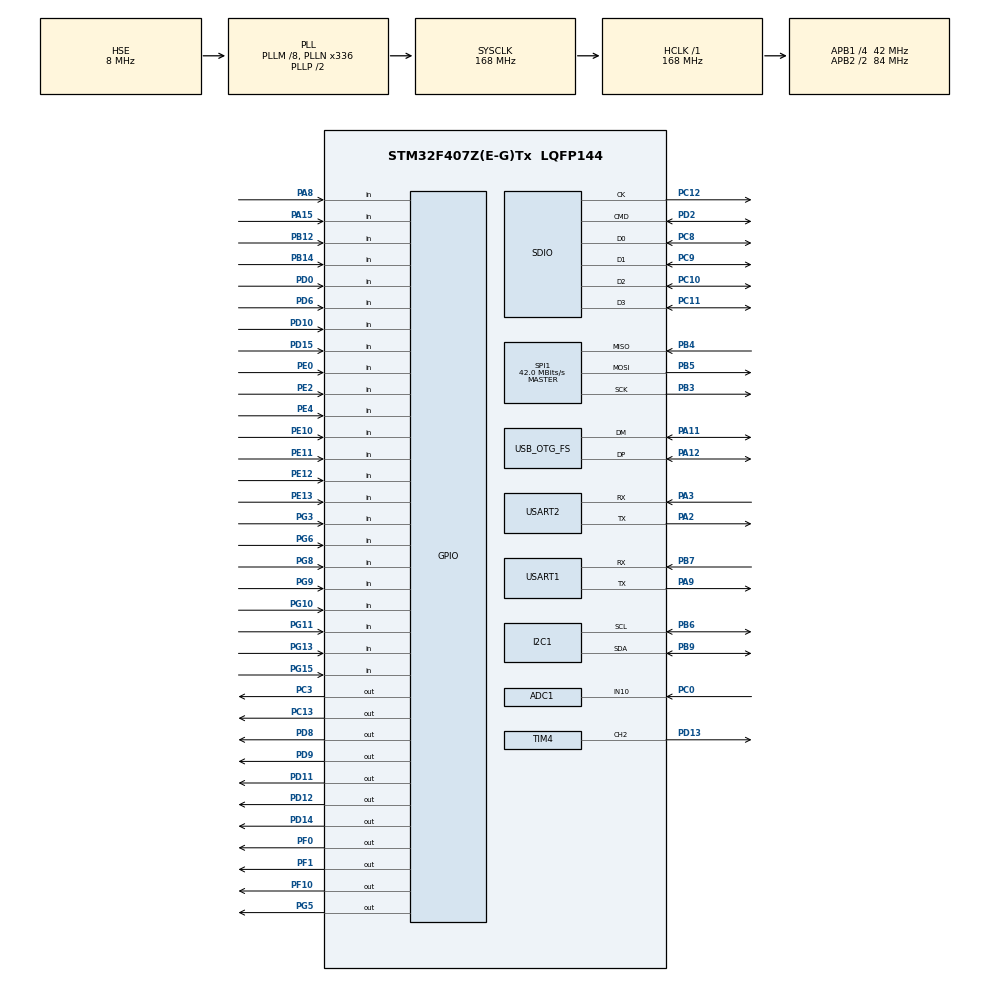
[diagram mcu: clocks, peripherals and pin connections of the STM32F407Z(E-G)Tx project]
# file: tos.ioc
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ADC1.Channel-0\#ChannelRegularConversion=ADC_CHANNEL_10
ADC1.NbrOfConversionFlag=1
ADC1.Rank-0\#ChannelRegularConversion=1
ADC1.SamplingTime-0\#ChannelRegularConversion=ADC_SAMPLETIME_3CYCLES
ADC1.master=1
Dma.Request0=SPI1_RX
Dma.Request1=SPI1_TX
Dma.Request2=SDIO_RX
Dma.Request3=SDIO_TX
Dma.SDIO_RX.2.Direction=DMA_PERIPH_TO_MEMORY
Dma.SDIO_RX.2.FIFOMode=DMA_FIFOMODE_ENABLE
Dma.SDIO_RX.2.FIFOThreshold=DMA_FIFO_THRESHOLD_FULL
Dma.SDIO_RX.2.Instance=DMA2_Stream3
Dma.SDIO_RX.2.MemBurst=DMA_MBURST_INC4
Dma.SDIO_RX.2.MemDataAlignment=DMA_MDATAALIGN_WORD
Dma.SDIO_RX.2.MemInc=DMA_MINC_ENABLE
Dma.SDIO_RX.2.Mode=DMA_PFCTRL
Dma.SDIO_RX.2.PeriphBurst=DMA_PBURST_INC4
Dma.SDIO_RX.2.PeriphDataAlignment=DMA_PDATAALIGN_WORD
Dma.SDIO_RX.2.PeriphInc=DMA_PINC_DISABLE
Dma.SDIO_RX.2.Priority=DMA_PRIORITY_LOW
Dma.SDIO_TX.3.Direction=DMA_MEMORY_TO_PERIPH
Dma.SDIO_TX.3.FIFOMode=DMA_FIFOMODE_ENABLE
Dma.SDIO_TX.3.FIFOThreshold=DMA_FIFO_THRESHOLD_FULL
Dma.SDIO_TX.3.Instance=DMA2_Stream6
Dma.SDIO_TX.3.MemBurst=DMA_MBURST_INC4
Dma.SDIO_TX.3.MemDataAlignment=DMA_MDATAALIGN_WORD
Dma.SDIO_TX.3.MemInc=DMA_MINC_ENABLE
Dma.SDIO_TX.3.Mode=DMA_PFCTRL
Dma.SDIO_TX.3.PeriphBurst=DMA_PBURST_INC4
Dma.SDIO_TX.3.PeriphDataAlignment=DMA_PDATAALIGN_WORD
Dma.SDIO_TX.3.PeriphInc=DMA_PINC_DISABLE
Dma.SDIO_TX.3.Priority=DMA_PRIORITY_LOW
Dma.SPI1_RX.0.Direction=DMA_PERIPH_TO_MEMORY
Dma.SPI1_RX.0.FIFOMode=DMA_FIFOMODE_DISABLE
Dma.SPI1_RX.0.Instance=DMA2_Stream0
Dma.SPI1_RX.0.MemDataAlignment=DMA_MDATAALIGN_BYTE
Dma.SPI1_RX.0.MemInc=DMA_MINC_ENABLE
Dma.SPI1_RX.0.Mode=DMA_NORMAL
Dma.SPI1_RX.0.PeriphDataAlignment=DMA_PDATAALIGN_BYTE
Dma.SPI1_RX.0.PeriphInc=DMA_PINC_DISABLE
Dma.SPI1_RX.0.Priority=DMA_PRIORITY_LOW
Dma.SPI1_TX.1.Direction=DMA_MEMORY_TO_PERIPH
Dma.SPI1_TX.1.FIFOMode=DMA_FIFOMODE_DISABLE
Dma.SPI1_TX.1.Instance=DMA2_Stream5
Dma.SPI1_TX.1.MemDataAlignment=DMA_MDATAALIGN_BYTE
Dma.SPI1_TX.1.MemInc=DMA_MINC_ENABLE
Dma.SPI1_TX.1.Mode=DMA_NORMAL
Dma.SPI1_TX.1.PeriphDataAlignment=DMA_PDATAALIGN_BYTE
Dma.SPI1_TX.1.PeriphInc=DMA_PINC_DISABLE
Dma.SPI1_TX.1.Priority=DMA_PRIORITY_LOW
FATFS.BSP.number=1
FATFS.USE_DMA_CODE_SD=1
FATFS._FS_EXFAT=0
FATFS._MAX_LFN=64
FATFS._USE_LFN=2
FATFS._USE_MKFS=1
FATFS0.BSP.STBoard=false
FATFS0.BSP.api=Unknown
FATFS0.BSP.instance=PG6
FATFS0.BSP.ip=GPIO
FATFS0.BSP.mode=Input
FATFS0.BSP.name=Detect_SDIO
FATFS0.BSP.solution=PG6
IWDG.Prescaler=IWDG_PRESCALER_128
Mcu.Family=STM32F4
Mcu.Name=STM32F407Z(E-G)Tx
Mcu.Package=LQFP144
NVIC.DMA2_Stream0_IRQn=true\:0\:0\:false\:false\:true\:false\:true\:true
NVIC.DMA2_Stream3_IRQn=true\:0\:0\:false\:false\:true\:false\:true\:true
NVIC.DMA2_Stream5_IRQn=true\:0\:0\:false\:false\:true\:false\:true\:true
NVIC.DMA2_Stream6_IRQn=true\:0\:0\:false\:false\:true\:false\:true\:true
NVIC.OTG_FS_IRQn=true\:0\:0\:false\:false\:true\:false\:true\:true
NVIC.PriorityGroup=NVIC_PRIORITYGROUP_4
NVIC.USART1_IRQn=true\:0\:0\:false\:false\:true\:true\:true\:true
NVIC.USART2_IRQn=true\:0\:0\:false\:false\:true\:true\:true\:true
PA11.Mode=Device_Only
PA11.Signal=USB_OTG_FS_DM
PA12.Mode=Device_Only
PA12.Signal=USB_OTG_FS_DP
PA13.Mode=Serial_Wire
PA13.Signal=SYS_JTMS-SWDIO
PA14.Mode=Serial_Wire
PA14.Signal=SYS_JTCK-SWCLK
PA15.GPIO_PuPd=GPIO_PULLUP
PA15.Signal=GPIO_Input
PA2.Mode=Asynchronous
PA2.Signal=USART2_TX
PA3.Mode=Asynchronous
PA3.Signal=USART2_RX
PA8.GPIO_PuPd=GPIO_PULLUP
PA8.Signal=GPIO_Input
PA9.Mode=Asynchronous
PA9.Signal=USART1_TX
PB12.GPIO_PuPd=GPIO_PULLUP
PB12.Signal=GPIO_Input
PB14.GPIO_PuPd=GPIO_PULLUP
PB14.Signal=GPIO_Input
PB3.Mode=Full_Duplex_Master
PB3.Signal=SPI1_SCK
PB4.Mode=Full_Duplex_Master
PB4.Signal=SPI1_MISO
PB5.Mode=Full_Duplex_Master
PB5.Signal=SPI1_MOSI
PB6.Mode=I2C
PB6.Signal=I2C1_SCL
PB7.Mode=Asynchronous
PB7.Signal=USART1_RX
PB9.Mode=I2C
PB9.Signal=I2C1_SDA
PC0.Signal=ADCx_IN10
PC10.GPIO_PuPd=GPIO_PULLUP
PC10.Mode=SD_4_bits_Wide_bus
PC10.Signal=SDIO_D2
PC11.GPIO_PuPd=GPIO_PULLUP
PC11.Mode=SD_4_bits_Wide_bus
PC11.Signal=SDIO_D3
PC12.GPIO_PuPd=GPIO_PULLUP
PC12.Mode=SD_4_bits_Wide_bus
PC12.Signal=SDIO_CK
PC13-ANTI_TAMP.Signal=GPIO_Output
PC14-OSC32_IN.Mode=LSE-External-Oscillator
PC14-OSC32_IN.Signal=RCC_OSC32_IN
PC15-OSC32_OUT.Mode=LSE-External-Oscillator
PC15-OSC32_OUT.Signal=RCC_OSC32_OUT
PC3.GPIO_PuPd=GPIO_NOPULL
PC3.Signal=GPIO_Output
PC8.GPIO_PuPd=GPIO_PULLUP
PC8.Mode=SD_4_bits_Wide_bus
PC8.Signal=SDIO_D0
PC9.GPIO_PuPd=GPIO_PULLUP
PC9.Mode=SD_4_bits_Wide_bus
PC9.Signal=SDIO_D1
PD0.GPIO_PuPd=GPIO_PULLUP
PD0.Signal=GPIO_Input
PD10.GPIO_PuPd=GPIO_PULLUP
PD10.Signal=GPIO_Input
PD11.GPIO_Speed=GPIO_SPEED_FREQ_HIGH
PD11.PinState=GPIO_PIN_SET
PD11.Signal=GPIO_Output
PD12.GPIO_Speed=GPIO_SPEED_FREQ_HIGH
PD12.Signal=GPIO_Output
PD13.Signal=S_TIM4_CH2
PD14.GPIO_Speed=GPIO_SPEED_FREQ_HIGH
PD14.PinState=GPIO_PIN_SET
PD14.Signal=GPIO_Output
PD15.GPIO_PuPd=GPIO_PULLUP
PD15.Signal=GPIO_Input
PD2.GPIO_PuPd=GPIO_PULLUP
PD2.Mode=SD_4_bits_Wide_bus
PD2.Signal=SDIO_CMD
PD6.GPIO_PuPd=GPIO_PULLUP
PD6.Signal=GPIO_Input
PD8.PinState=GPIO_PIN_SET
PD8.Signal=GPIO_Output
PD9.PinState=GPIO_PIN_SET
PD9.Signal=GPIO_Output
PE0.GPIO_PuPd=GPIO_PULLUP
PE0.Signal=GPIO_Input
PE10.GPIO_PuPd=GPIO_NOPULL
PE10.Signal=GPIO_Input
PE11.GPIO_PuPd=GPIO_NOPULL
PE11.Signal=GPIO_Input
PE12.GPIO_PuPd=GPIO_NOPULL
PE12.Signal=GPIO_Input
PE13.GPIO_PuPd=GPIO_NOPULL
PE13.Signal=GPIO_Input
PE2.GPIO_PuPd=GPIO_PULLUP
PE2.Signal=GPIO_Input
PE4.GPIO_PuPd=GPIO_PULLUP
PE4.Signal=GPIO_Input
PF0.Signal=GPIO_Output
PF1.Signal=GPIO_Output
PF10.Signal=GPIO_Output
PG10.GPIO_PuPd=GPIO_PULLUP
PG10.Signal=GPIO_Input
PG11.GPIO_PuPd=GPIO_PULLUP
PG11.Signal=GPIO_Input
PG13.GPIO_PuPd=GPIO_PULLUP
PG13.Signal=GPIO_Input
PG15.GPIO_PuPd=GPIO_PULLUP
PG15.Signal=GPIO_Input
PG3.GPIO_PuPd=GPIO_PULLUP
PG3.Signal=GPIO_Input
PG5.Signal=GPIO_Output
PG6.GPIO_PuPd=GPIO_PULLUP
PG6.Signal=GPIO_Input
PG8.GPIO_PuPd=GPIO_PULLUP
PG8.Signal=GPIO_Input
PG9.GPIO_PuPd=GPIO_PULLUP
PG9.Signal=GPIO_Input
PH0-OSC_IN.Mode=HSE-External-Oscillator
PH0-OSC_IN.Signal=RCC_OSC_IN
PH1-OSC_OUT.Mode=HSE-External-Oscillator
PH1-OSC_OUT.Signal=RCC_OSC_OUT
ProjectManager.HeapSize=0x200
ProjectManager.StackSize=0x1000
ProjectManager.TargetToolchain=CMake
RCC.48MHZClocksFreq_Value=48000000
RCC.AHBFreq_Value=168000000
RCC.APB1CLKDivider=RCC_HCLK_DIV4
RCC.APB1Freq_Value=42000000
RCC.APB1TimFreq_Value=84000000
RCC.APB2CLKDivider=RCC_HCLK_DIV2
RCC.APB2Freq_Value=84000000
RCC.APB2TimFreq_Value=168000000
RCC.CortexFreq_Value=168000000
RCC.HCLKFreq_Value=168000000
RCC.HSE_VALUE=8000000
RCC.HSI_VALUE=16000000
RCC.PLLM=8
RCC.PLLN=336
RCC.PLLQ=7
RCC.RCC_RTC_Clock_SourceVirtual=RCC_RTCCLKSOURCE_LSE
RCC.SYSCLKFreq_VALUE=168000000
RCC.SYSCLKSource=RCC_SYSCLKSOURCE_PLLCLK
RCC.VCOOutputFreq_Value=336000000
RTC.Format=RTC_FORMAT_BIN
SDIO.ClockDiv=2
SH.ADCx_IN10.0=ADC1_IN10,IN10
SH.S_TIM4_CH2.0=TIM4_CH2,PWM Generation2 CH2
SPI1.BaudRatePrescaler=SPI_BAUDRATEPRESCALER_2
SPI1.CalculateBaudRate=42.0 MBits/s
SPI1.Direction=SPI_DIRECTION_2LINES
SPI1.Mode=SPI_MODE_MASTER
SPI1.VirtualType=VM_MASTER
TIM4.AutoReloadPreload=TIM_AUTORELOAD_PRELOAD_ENABLE
TIM4.Channel-PWM\ Generation2\ CH2=TIM_CHANNEL_2
TIM4.Period=1000-1
TIM4.Prescaler=84-1
TIM4.Pulse-PWM\ Generation2\ CH2=500
USART1.VirtualMode=VM_ASYNC
USART2.VirtualMode=VM_ASYNC
USB_DEVICE.CLASS_NAME_FS=CUSTOM_HID
USB_DEVICE.MANUFACTURER_STRING-CUSTOM_HID_FS=Typheye
USB_DEVICE.PRODUCT_STRING_CUSTOMHID_FS=TOS HID
USB_DEVICE.USBD_CUSTOMHID_OUTREPORT_BUF_SIZE-CUSTOM_HID_FS=64
USB_DEVICE.USBD_CUSTOM_HID_REPORT_DESC_SIZE-CUSTOM_HID_FS=148
USB_DEVICE.VirtualMode-CUSTOM_HID_FS=CustomHid
USB_DEVICE.VirtualModeFS=Custom_Hid_FS
USB_OTG_FS.VirtualMode=Device_Only
VP_FATFS_VS_SDIO.Mode=SDIO
VP_IWDG_VS_IWDG.Mode=IWDG_Activate
VP_RTC_VS_RTC_Activate.Mode=RTC_Enabled
VP_RTC_VS_RTC_Calendar.Mode=RTC_Calendar
VP_TIM4_VS_ClockSourceINT.Mode=Internal
VP_USB_DEVICE_VS_USB_DEVICE_CUSTOM_HID_FS.Mode=CUSTOM_HID_FS
board=custom

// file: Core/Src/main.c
/* USER CODE BEGIN Header */
/**
  ******************************************************************************
  * @file           : main.c
  * @brief          : Main program body
  ******************************************************************************
  * @attention
  *
  * Copyright (c) 2026 STMicroelectronics.
  * All rights reserved.
  *
  * This software is licensed under terms that can be found in the LICENSE file
  * in the root directory of this software component.
  * If no LICENSE file comes with this software, it is provided AS-IS.
  *
  ******************************************************************************
  */
/* USER CODE END Header */
#include "main.h"
#include "adc.h"
#include "dma.h"
#include "fatfs.h"
#include "i2c.h"
#include "iwdg.h"
#include "rtc.h"
#include "sdio.h"
#include "spi.h"
#include "tim.h"
#include "usart.h"
#include "usb_device.h"
#include "gpio.h"

/* USER CODE BEGIN Includes */

#ifdef __cplusplus
#include "hardware/include/esp8266.hpp"
#endif
#include "syswatchdog.h"
#include "init.h"
#include "manifest.h"
#include "settings_manager.h"
#include <stdio.h>

/* USER CODE END Includes */

/* USER CODE BEGIN PV */
uint8_t esp8266_rx_byte = 0;
extern volatile uint32_t uart2_rx_count;
/* USER CODE END PV */

void SystemClock_Config(void);

/* USER CODE BEGIN 0 */
static void TOS_KeepSplashBacklightOn(void)
{
  __HAL_RCC_GPIOD_CLK_ENABLE();
  GPIO_InitTypeDef GPIO_InitStruct = {0};
  GPIO_InitStruct.Pin = GPIO_PIN_13;
  GPIO_InitStruct.Mode = GPIO_MODE_OUTPUT_PP;
  GPIO_InitStruct.Pull = GPIO_NOPULL;
  GPIO_InitStruct.Speed = GPIO_SPEED_FREQ_HIGH;
  HAL_GPIO_Init(GPIOD, &GPIO_InitStruct);
  HAL_GPIO_WritePin(GPIOD, GPIO_PIN_13, GPIO_PIN_SET);
  HAL_GPIO_WritePin(GPIOD, GPIO_PIN_11 | GPIO_PIN_12 | GPIO_PIN_14,
                    GPIO_PIN_SET);
}

/* USER CODE END 0 */

int main(void)
{

  /* USER CODE BEGIN 1 */

  /* system_stm32f4xx.c is shared by the independently linked images, so its
   * CubeMX vector-offset macro cannot safely be image-specific. Relocate the
   * SYSTEM vector table before HAL_Init enables SysTick. */
  SCB->VTOR = TOS_PART_SYSTEM_ADDRESS;
  __DSB();
  __ISB();
  __enable_irq();

  /* USER CODE END 1 */

  /* MCU Configuration--------------------------------------------------------*/

  /* Reset of all peripherals, Initializes the Flash interface and the Systick. */
  HAL_Init();

  /* Configure the system clock */
  SystemClock_Config();

  /* USER CODE BEGIN SysInit */
  TOS_KeepSplashBacklightOn();

  /* USER CODE END SysInit */

  /* Initialize all configured peripherals */
  MX_GPIO_Init();
  MX_DMA_Init();
  MX_USART1_UART_Init();
  MX_RTC_Init();
  MX_SPI1_Init();
  MX_SDIO_SD_Init();
  MX_FATFS_Init();
  MX_I2C1_Init();
  MX_USART2_UART_Init();
  MX_ADC1_Init();
  MX_TIM4_Init();
  MX_USB_DEVICE_Init();
  MX_IWDG_Init();
  /* USER CODE BEGIN 2 */
  /* MX_TIM4_Init() has already switched PD13 from GPIO output to
   * TIM4_CH2 alternate-function mode.  Do not call
   * TOS_KeepSplashBacklightOn() here: it would silently switch PD13 back to
   * GPIO and disconnect the PWM signal from the LCD backlight pin. */
  HAL_TIM_PWM_Start(&htim4, TIM_CHANNEL_2);
  __HAL_TIM_SET_COMPARE(&htim4, TIM_CHANNEL_2, 1000U);
  SysWatchdog_FeedNow();
  HAL_UART_Receive_IT(&huart2, &esp8266_rx_byte, 1);

  Tos_Start();
  /* USER CODE END 2 */

  /* Infinite loop */
  while (1)
  {

  }
}

void SystemClock_Config(void)
{
  RCC_OscInitTypeDef RCC_OscInitStruct = {0};
  RCC_ClkInitTypeDef RCC_ClkInitStruct = {0};

  /** Configure the main internal regulator output voltage
  */
  __HAL_RCC_PWR_CLK_ENABLE();
  __HAL_PWR_VOLTAGESCALING_CONFIG(PWR_REGULATOR_VOLTAGE_SCALE1);

  /** Initializes the RCC Oscillators according to the specified parameters
  * in the RCC_OscInitTypeDef structure.
  */
  RCC_OscInitStruct.OscillatorType = RCC_OSCILLATORTYPE_LSI|RCC_OSCILLATORTYPE_HSE
                              |RCC_OSCILLATORTYPE_LSE;
  RCC_OscInitStruct.HSEState = RCC_HSE_ON;
  RCC_OscInitStruct.LSEState = RCC_LSE_ON;
  RCC_OscInitStruct.LSIState = RCC_LSI_ON;
  RCC_OscInitStruct.PLL.PLLState = RCC_PLL_ON;
  RCC_OscInitStruct.PLL.PLLSource = RCC_PLLSOURCE_HSE;
  RCC_OscInitStruct.PLL.PLLM = 8;
  RCC_OscInitStruct.PLL.PLLN = 336;
  RCC_OscInitStruct.PLL.PLLP = RCC_PLLP_DIV2;
  RCC_OscInitStruct.PLL.PLLQ = 7;
  if (HAL_RCC_OscConfig(&RCC_OscInitStruct) != HAL_OK)
  {
    Error_Handler();
  }

  /** Initializes the CPU, AHB and APB buses clocks
  */
  RCC_ClkInitStruct.ClockType = RCC_CLOCKTYPE_HCLK|RCC_CLOCKTYPE_SYSCLK
                              |RCC_CLOCKTYPE_PCLK1|RCC_CLOCKTYPE_PCLK2;
  RCC_ClkInitStruct.SYSCLKSource = RCC_SYSCLKSOURCE_PLLCLK;
  RCC_ClkInitStruct.AHBCLKDivider = RCC_SYSCLK_DIV1;
  RCC_ClkInitStruct.APB1CLKDivider = RCC_HCLK_DIV4;
  RCC_ClkInitStruct.APB2CLKDivider = RCC_HCLK_DIV2;

  if (HAL_RCC_ClockConfig(&RCC_ClkInitStruct, FLASH_LATENCY_5) != HAL_OK)
  {
    Error_Handler();
  }
}

void Error_Handler(void)
{
  __disable_irq();
  while (1)
  {
  }
}
